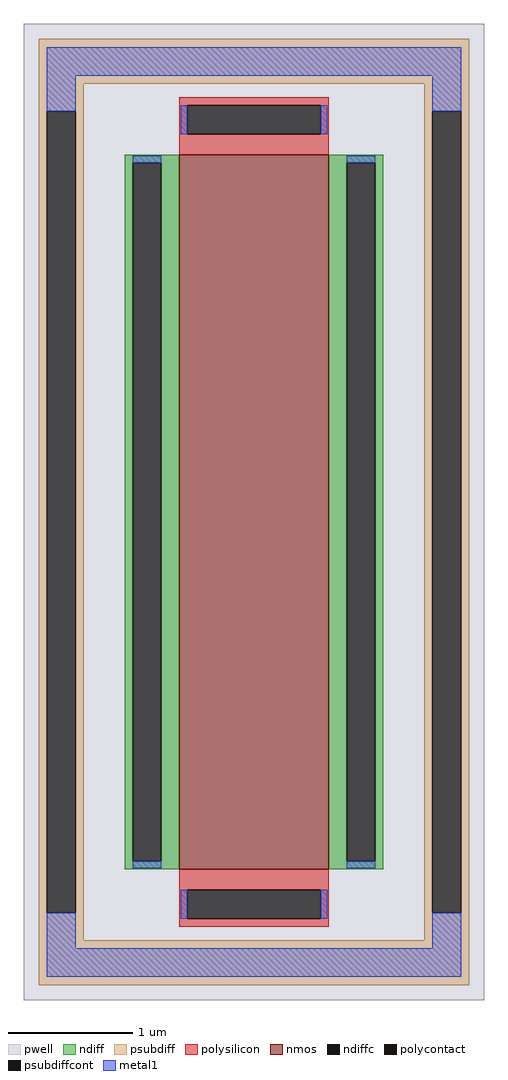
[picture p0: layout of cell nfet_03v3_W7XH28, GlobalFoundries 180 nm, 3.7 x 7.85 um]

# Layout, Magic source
magic
tech gf180mcuD
magscale 1 10
<< pwell >>
rect -370 -785 370 785
<< nmos >>
rect -120 -575 120 575
<< ndiff >>
rect -208 562 -120 575
rect -208 -562 -195 562
rect -149 -562 -120 562
rect -208 -575 -120 -562
rect 120 562 208 575
rect 120 -562 149 562
rect 195 -562 208 562
rect 120 -575 208 -562
<< ndiffc >>
rect -195 -562 -149 562
rect 149 -562 195 562
<< psubdiff >>
rect -346 689 346 761
rect -346 645 -274 689
rect -346 -645 -333 645
rect -287 -645 -274 645
rect 274 645 346 689
rect -346 -689 -274 -645
rect 274 -645 287 645
rect 333 -645 346 645
rect 274 -689 346 -645
rect -346 -761 346 -689
<< psubdiffcont >>
rect -333 -645 -287 645
rect 287 -645 333 645
<< polysilicon >>
rect -120 654 120 667
rect -120 608 -107 654
rect 107 608 120 654
rect -120 575 120 608
rect -120 -608 120 -575
rect -120 -654 -107 -608
rect 107 -654 120 -608
rect -120 -667 120 -654
<< polycontact >>
rect -107 608 107 654
rect -107 -654 107 -608
<< metal1 >>
rect -333 702 333 748
rect -333 645 -287 702
rect -118 608 -107 654
rect 107 608 118 654
rect 287 645 333 702
rect -195 562 -149 573
rect -195 -573 -149 -562
rect 149 562 195 573
rect 149 -573 195 -562
rect -333 -702 -287 -645
rect -118 -654 -107 -608
rect 107 -654 118 -608
rect 287 -702 333 -645
rect -333 -748 333 -702
<< properties >>
string FIXED_BBOX -310 -725 310 725
string gencell nfet_03v3
string library gf180mcu
string parameters w 5.75 l 1.2 m 1 nf 1 diffcov 100 polycov 100 guard 1 glc 1 grc 1 gtc 0 gbc 0 tbcov 100 rlcov 100 topc 1 botc 1 poverlap 0 doverlap 1 lmin 0.28 wmin 0.22 class mosfet full_metal 1 compatible {nfet_03v3 nfet_05v0 nfet_06v0 nfet_06v0_nvt}
<< end >>
